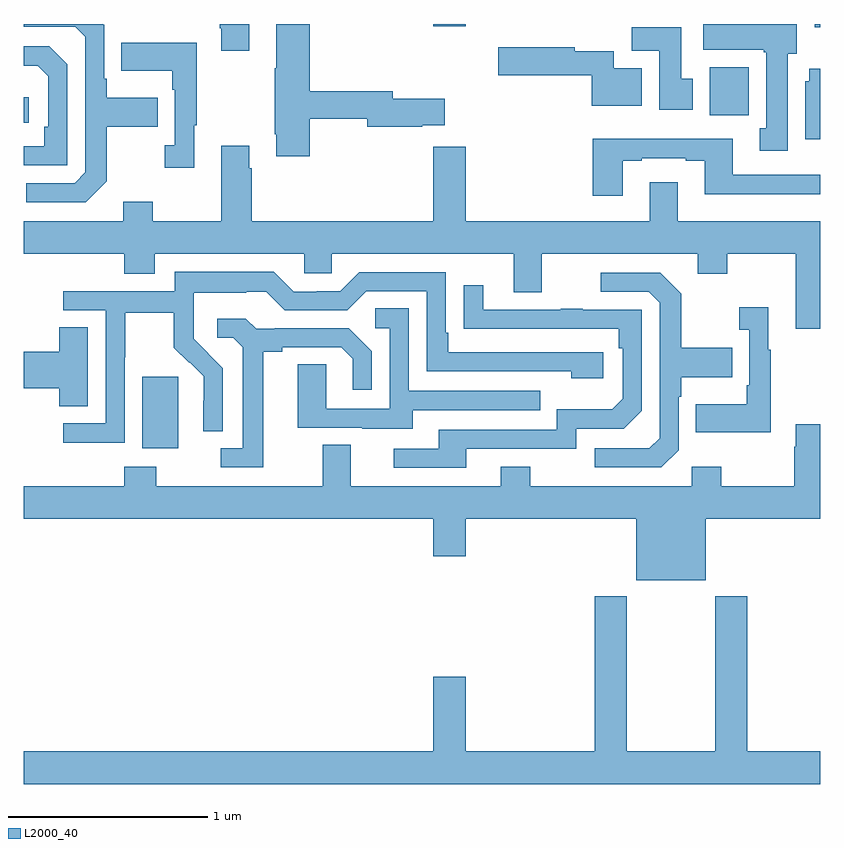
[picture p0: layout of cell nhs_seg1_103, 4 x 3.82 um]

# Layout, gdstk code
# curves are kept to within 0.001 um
import gdstk
lib = gdstk.Library(unit=1e-6, precision=1e-09)
def R(c, l, rs):  # rectangles x0, y0, x1, y1
    for r in rs: c.add(gdstk.rectangle(r[:2], r[2:], *l))
def P(c, l, *ps):  # polygons
    for p in ps: c.add(gdstk.Polygon(p, *l))
L2000_40 = (2000, 40)

nhs_seg1_103 = lib.new_cell('nhs_seg1_103')
R(nhs_seg1_103, L2000_40, [(115.595,572.066,115.774,572.427), (115,573.702,115.024,573.832), (118.445,573.74,118.642,573.982), (118.973,574.182,119,574.199), (117.056,574.188,117.22,574.199)])
P(nhs_seg1_103, L2000_40, [(116.131,574.199),(115.984,574.199),(115.984,574.177),(115.991,574.177),(115.991,574.065),(116.131,574.065)],
  [(116.435,573.724),(116.726,573.724),(116.726,573.682),(117.002,573.682),(117.002,573.689),(117.115,573.689),(117.115,573.824),(116.854,573.824),(116.854,573.86),(116.435,573.86),(116.435,574.199),(116.267,574.199),(116.267,573.977),(116.26,573.977),(116.26,573.646),(116.267,573.646),(116.267,573.534),(116.435,573.534)],
  [(118.837,574.05),(118.882,574.05),(118.882,574.199),(118.413,574.199),(118.413,574.07),(118.717,574.07),(118.717,574.057),(118.73,574.057),(118.73,573.674),(118.697,573.674),(118.697,573.561),(118.837,573.561)],
  [(115.417,573.409),(115.417,573.682),(115.673,573.682),(115.673,573.829),(115.417,573.829),(115.417,573.925),(115.404,573.925),(115.404,574.194),(115.399,574.199),(115,574.199),(115,574.185),(115.257,574.185),(115.308,574.134),(115.308,573.453),(115.254,573.399),(115.011,573.399),(115.011,573.303),(115.311,573.303)],
  [(118.36,573.924),(118.303,573.924),(118.303,574.183),(118.054,574.183),(118.054,574.064),(118.193,574.064),(118.193,573.768),(118.36,573.768)],
  [(115.855,573.689),(115.867,573.689),(115.867,574.105),(115.489,574.105),(115.489,573.965),(115.746,573.965),(115.746,573.869),(115.758,573.869),(115.758,573.59),(115.707,573.59),(115.707,573.477),(115.855,573.477)],
  [(115.218,573.996),(115.128,574.086),(115,574.086),(115,573.989),(115.069,573.989),(115.122,573.936),(115.122,573.682),(115.102,573.682),(115.102,573.585),(115,573.585),(115,573.489),(115.218,573.489)],
  [(118.105,573.976),(117.964,573.976),(117.964,574.063),(117.768,574.063),(117.768,574.083),(117.384,574.083),(117.384,573.941),(117.854,573.941),(117.854,573.788),(118.105,573.788)],
  [(119,573.973),(118.946,573.973),(118.946,573.912),(118.925,573.912),(118.925,573.62),(119,573.62)],
  [(118.009,573.513),(118.105,573.513),(118.105,573.525),(118.325,573.525),(118.325,573.513),(118.421,573.513),(118.421,573.344),(119,573.344),(119,573.441),(118.561,573.441),(118.561,573.622),(117.857,573.622),(117.857,573.336),(118.009,573.336)],
  [(119,573.208),(118.285,573.208),(118.285,573.403),(118.145,573.403),(118.145,573.208),(117.22,573.208),(117.22,573.583),(117.056,573.583),(117.056,573.208),(116.144,573.208),(116.144,573.473),(116.131,573.473),(116.131,573.586),(115.991,573.586),(115.991,573.208),(115.647,573.208),(115.647,573.307),(115.499,573.307),(115.499,573.208),(115,573.208),(115,573.044),(115.505,573.044),(115.505,572.945),(115.657,572.945),(115.657,573.044),(116.409,573.044),(116.409,572.946),(116.547,572.946),(116.547,573.044),(117.461,573.044),(117.461,572.85),(117.601,572.85),(117.601,573.044),(118.385,573.044),(118.385,572.945),(118.533,572.945),(118.533,573.044),(118.877,573.044),(118.877,572.667),(119,572.667)],
  [(115.506,572.524),(115.509,572.524),(115.509,572.748),(115.753,572.748),(115.753,572.573),(115.83,572.496),(115.833,572.499),(115.904,572.429),(115.904,572.306),(115.902,572.306),(115.902,572.152),(115.998,572.152),(115.998,572.47),(115.852,572.618),(115.852,572.715),(115.854,572.715),(115.854,572.849),(116.117,572.849),(116.117,572.853),(116.217,572.853),(116.31,572.76),(116.625,572.76),(116.721,572.856),(117.024,572.856),(117.024,572.454),(117.749,572.454),(117.749,572.42),(117.91,572.42),(117.91,572.55),(117.133,572.55),(117.133,572.647),(117.12,572.647),(117.12,572.952),(116.685,572.952),(116.589,572.856),(116.471,572.856),(116.471,572.853),(116.355,572.853),(116.255,572.953),(115.758,572.953),(115.758,572.856),(115.197,572.856),(115.197,572.76),(115.41,572.76),(115.41,572.193),(115.197,572.193),(115.197,572.095),(115.506,572.095)],
  [(118.29,572.058),(118.29,572.327),(118.303,572.327),(118.303,572.423),(118.559,572.423),(118.559,572.571),(118.303,572.571),(118.303,572.843),(118.197,572.949),(117.897,572.949),(117.897,572.853),(118.14,572.853),(118.194,572.799),(118.194,572.118),(118.143,572.067),(117.867,572.067),(117.867,571.971),(118.203,571.971)],
  [(117.223,572.064),(117.774,572.064),(117.774,572.166),(118.014,572.166),(118.104,572.256),(118.104,572.763),(117.809,572.763),(117.809,572.768),(117.697,572.768),(117.697,572.763),(117.307,572.763),(117.307,572.887),(117.211,572.887),(117.211,572.668),(117.988,572.667),(117.988,572.57),(118.008,572.57),(118.008,572.316),(117.955,572.263),(117.678,572.263),(117.678,572.16),(117.083,572.16),(117.083,572.064),(116.859,572.064),(116.859,571.968),(117.223,571.968)],
  [(118.753,572.563),(118.741,572.563),(118.741,572.776),(118.593,572.776),(118.593,572.663),(118.644,572.663),(118.644,572.383),(118.632,572.383),(118.632,572.287),(118.375,572.287),(118.375,572.147),(118.753,572.147)],
  [(116.953,572.259),(117.593,572.259),(117.593,572.355),(116.934,572.355),(116.934,572.771),(116.766,572.771),(116.766,572.67),(116.838,572.67),(116.838,572.265),(116.52,572.265),(116.52,572.489),(116.375,572.489),(116.375,572.169),(116.699,572.169),(116.699,572.165),(116.953,572.165)],
  [(116.203,572.552),(116.299,572.552),(116.299,572.574),(116.594,572.574),(116.651,572.517),(116.651,572.361),(116.748,572.361),(116.748,572.554),(116.632,572.67),(116.26,572.67),(116.26,572.667),(116.166,572.667),(116.114,572.719),(115.971,572.719),(115.971,572.622),(116.052,572.622),(116.099,572.575),(116.099,572.067),(115.989,572.067),(115.989,571.971),(116.203,571.971)],
  [(115.321,572.675),(115.178,572.675),(115.178,572.552),(115,572.552),(115,572.369),(115.178,572.369),(115.178,572.278),(115.321,572.278)],
  [(118.426,571.712),(119,571.712),(119,572.188),(118.877,572.188),(118.877,572.075),(118.87,572.075),(118.87,571.876),(118.503,571.876),(118.503,571.975),(118.356,571.975),(118.356,571.876),(117.543,571.876),(117.543,571.975),(117.395,571.975),(117.395,571.876),(116.641,571.876),(116.641,572.084),(116.501,572.084),(116.501,571.876),(115.665,571.876),(115.665,571.975),(115.505,571.975),(115.505,571.876),(115,571.876),(115,571.712),(117.056,571.712),(117.056,571.524),(117.22,571.524),(117.22,571.712),(118.076,571.712),(118.076,571.403),(118.426,571.403)],
  [(119,570.544),(118.634,570.544),(118.634,571.324),(118.474,571.324),(118.474,570.544),(118.029,570.544),(118.029,571.324),(117.869,571.324),(117.869,570.544),(117.22,570.544),(117.22,570.919),(117.056,570.919),(117.056,570.544),(115,570.544),(115,570.38),(119,570.38)])

lib.write_gds('nhs_seg1_103.gds')
